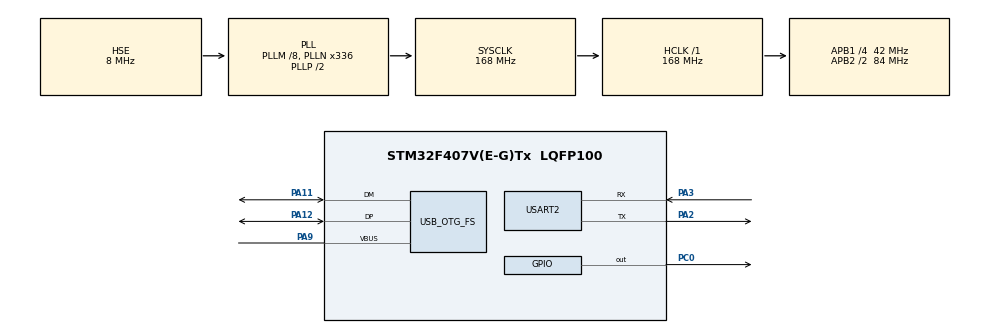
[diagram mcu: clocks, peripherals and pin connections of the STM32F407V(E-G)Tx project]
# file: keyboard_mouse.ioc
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Mcu.Family=STM32F4
Mcu.Name=STM32F407V(E-G)Tx
Mcu.Package=LQFP100
NVIC.OTG_FS_IRQn=true\:0\:0\:false\:false\:true\:true\:true\:true
NVIC.PriorityGroup=NVIC_PRIORITYGROUP_4
NVIC.TIM2_IRQn=true\:15\:0\:false\:false\:true\:false\:true\:true
NVIC.TimeBase=TIM2_IRQn
NVIC.TimeBaseIP=TIM2
PA11.Mode=Host_Only
PA11.Signal=USB_OTG_FS_DM
PA12.Mode=Host_Only
PA12.Signal=USB_OTG_FS_DP
PA2.Mode=Asynchronous
PA2.Signal=USART2_TX
PA3.Mode=Asynchronous
PA3.Signal=USART2_RX
PA9.Mode=Activate_VBUS
PA9.Signal=USB_OTG_FS_VBUS
PC0.GPIO_PuPd=GPIO_NOPULL
PC0.PinState=GPIO_PIN_RESET
PC0.Signal=GPIO_Output
PH0-OSC_IN.Mode=HSE-External-Oscillator
PH0-OSC_IN.Signal=RCC_OSC_IN
PH1-OSC_OUT.Mode=HSE-External-Oscillator
PH1-OSC_OUT.Signal=RCC_OSC_OUT
ProjectManager.HeapSize=0x200
ProjectManager.StackSize=0x400
ProjectManager.TargetToolchain=STM32CubeIDE
RCC.48MHZClocksFreq_Value=48000000
RCC.AHBFreq_Value=168000000
RCC.APB1CLKDivider=RCC_HCLK_DIV4
RCC.APB1Freq_Value=42000000
RCC.APB1TimFreq_Value=84000000
RCC.APB2CLKDivider=RCC_HCLK_DIV2
RCC.APB2Freq_Value=84000000
RCC.APB2TimFreq_Value=168000000
RCC.CortexFreq_Value=168000000
RCC.HCLKFreq_Value=168000000
RCC.HSE_VALUE=8000000
RCC.HSI_VALUE=16000000
RCC.LSE_VALUE=32768
RCC.PLLM=8
RCC.PLLN=336
RCC.PLLQ=7
RCC.SYSCLKFreq_VALUE=168000000
RCC.SYSCLKSource=RCC_SYSCLKSOURCE_PLLCLK
RCC.VCOOutputFreq_Value=336000000
USART2.VirtualMode=VM_ASYNC
USB_HOST.BSP.number=1
USB_HOST.SW_VBUS_DRIVE_HID_FS=false
USB_HOST.USBH_DEBUG_LEVEL-HID_FS=3
USB_HOST.USBH_HandleTypeDef-HID_FS=hUsbHostFS
USB_HOST.USBH_USE_OS-HID_FS=0
USB_HOST.VirtualModeFS=Hid
USB_HOST0.BSP.STBoard=false
USB_HOST0.BSP.api=Unknown
USB_HOST0.BSP.condition=SW_VBUS_DRIVE_HID_FS \= false
USB_HOST0.BSP.instance=PC0
USB_HOST0.BSP.ip=GPIO
USB_HOST0.BSP.mode=Output
USB_HOST0.BSP.name=Drive_VBUS_FS
USB_HOST0.BSP.solution=PC0
USB_OTG_FS.VirtualMode=Host_Only
USB_OTG_FS.phy_itface=HCD_PHY_EMBEDDED
VP_SYS_VS_tim2.Mode=TIM2
VP_USB_HOST_VS_USB_HOST_HID_FS.Mode=HID_FS
board=STM32F407G-DISC1

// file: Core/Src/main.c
/* USER CODE BEGIN Header */
/**
  ******************************************************************************
  * @file           : main.c
  * @brief          : Main program body
  ******************************************************************************
  * @attention
  *
  * Copyright (c) 2026 STMicroelectronics.
  * All rights reserved.
  *
  * This software is licensed under terms that can be found in the LICENSE file
  * in the root directory of this software component.
  * If no LICENSE file comes with this software, it is provided AS-IS.
  *
  ******************************************************************************
  */
/* USER CODE END Header */
#include "main.h"
#include "usb_host.h"

/* USER CODE BEGIN Includes */
#include "usbh_hid.h"
#include <stdio.h>
/* USER CODE END Includes */

UART_HandleTypeDef huart2;

void SystemClock_Config(void);
static void MX_GPIO_Init(void);
static void MX_USART2_UART_Init(void);
void MX_USB_HOST_Process(void);

/* USER CODE BEGIN 0 */

char Uart_Buf[100];

void USBH_HID_EventCallback(USBH_HandleTypeDef *phost){
	if(USBH_HID_GetDeviceType(phost) == HID_MOUSE){
		HID_MOUSE_Info_TypeDef *Mouse_Info;
		Mouse_Info = USBH_HID_GetMouseInfo(phost);
		int x_val = Mouse_Info->x;
		int y_val = Mouse_Info->y;
		if(x_val > 127) x_val -= 255;
		if(y_val > 127) y_val -= 255;

		int len = sprintf(Uart_Buf, "X=%d, Y=%d, Button1=%d, Button2=%d, Button3=%d\n", x_val, y_val, \
				Mouse_Info->buttons[0],Mouse_Info->buttons[1],Mouse_Info->buttons[2]);
		HAL_UART_Transmit(&huart2, (uint8_t*)Uart_Buf, len, 1000);
	}
	if(USBH_HID_GetDeviceType(phost) == HID_KEYBOARD){
		HID_KEYBD_Info_TypeDef *Keyboard_Info;
		Keyboard_Info = USBH_HID_GetKeybdInfo(phost);
		char key = USBH_HID_GetASCIICode(Keyboard_Info);
		int len = sprintf(Uart_Buf, "Key pressed = %c\n", key);
		HAL_UART_Transmit(&huart2, (uint8_t*) Uart_Buf, len, 1000);
	}

}
/* USER CODE END 0 */

int main(void)
{

  /* MCU Configuration--------------------------------------------------------*/

  /* Reset of all peripherals, Initializes the Flash interface and the Systick. */
  HAL_Init();

  /* Configure the system clock */
  SystemClock_Config();

  /* Initialize all configured peripherals */
  MX_GPIO_Init();
  MX_USB_HOST_Init();
  MX_USART2_UART_Init();

  /* Infinite loop */
  while (1)
  {
    MX_USB_HOST_Process();

  }
}

void SystemClock_Config(void)
{
  RCC_OscInitTypeDef RCC_OscInitStruct = {0};
  RCC_ClkInitTypeDef RCC_ClkInitStruct = {0};

  /** Configure the main internal regulator output voltage
  */
  __HAL_RCC_PWR_CLK_ENABLE();
  __HAL_PWR_VOLTAGESCALING_CONFIG(PWR_REGULATOR_VOLTAGE_SCALE1);

  /** Initializes the RCC Oscillators according to the specified parameters
  * in the RCC_OscInitTypeDef structure.
  */
  RCC_OscInitStruct.OscillatorType = RCC_OSCILLATORTYPE_HSE;
  RCC_OscInitStruct.HSEState = RCC_HSE_ON;
  RCC_OscInitStruct.PLL.PLLState = RCC_PLL_ON;
  RCC_OscInitStruct.PLL.PLLSource = RCC_PLLSOURCE_HSE;
  RCC_OscInitStruct.PLL.PLLM = 8;
  RCC_OscInitStruct.PLL.PLLN = 336;
  RCC_OscInitStruct.PLL.PLLP = RCC_PLLP_DIV2;
  RCC_OscInitStruct.PLL.PLLQ = 7;
  if (HAL_RCC_OscConfig(&RCC_OscInitStruct) != HAL_OK)
  {
    Error_Handler();
  }

  /** Initializes the CPU, AHB and APB buses clocks
  */
  RCC_ClkInitStruct.ClockType = RCC_CLOCKTYPE_HCLK|RCC_CLOCKTYPE_SYSCLK
                              |RCC_CLOCKTYPE_PCLK1|RCC_CLOCKTYPE_PCLK2;
  RCC_ClkInitStruct.SYSCLKSource = RCC_SYSCLKSOURCE_PLLCLK;
  RCC_ClkInitStruct.AHBCLKDivider = RCC_SYSCLK_DIV1;
  RCC_ClkInitStruct.APB1CLKDivider = RCC_HCLK_DIV4;
  RCC_ClkInitStruct.APB2CLKDivider = RCC_HCLK_DIV2;

  if (HAL_RCC_ClockConfig(&RCC_ClkInitStruct, FLASH_LATENCY_5) != HAL_OK)
  {
    Error_Handler();
  }
}

static void MX_USART2_UART_Init(void)
{

  huart2.Instance = USART2;
  huart2.Init.BaudRate = 115200;
  huart2.Init.WordLength = UART_WORDLENGTH_8B;
  huart2.Init.StopBits = UART_STOPBITS_1;
  huart2.Init.Parity = UART_PARITY_NONE;
  huart2.Init.Mode = UART_MODE_TX_RX;
  huart2.Init.HwFlowCtl = UART_HWCONTROL_NONE;
  huart2.Init.OverSampling = UART_OVERSAMPLING_16;
  if (HAL_UART_Init(&huart2) != HAL_OK)
  {
    Error_Handler();
  }

}

static void MX_GPIO_Init(void)
{
  GPIO_InitTypeDef GPIO_InitStruct = {0};

  /* GPIO Ports Clock Enable */
  __HAL_RCC_GPIOH_CLK_ENABLE();
  __HAL_RCC_GPIOC_CLK_ENABLE();
  __HAL_RCC_GPIOA_CLK_ENABLE();

  /*Configure GPIO pin Output Level */
  HAL_GPIO_WritePin(GPIOC, GPIO_PIN_0, GPIO_PIN_RESET);

  /*Configure GPIO pin : PC0 */
  GPIO_InitStruct.Pin = GPIO_PIN_0;
  GPIO_InitStruct.Mode = GPIO_MODE_OUTPUT_PP;
  GPIO_InitStruct.Pull = GPIO_NOPULL;
  GPIO_InitStruct.Speed = GPIO_SPEED_FREQ_LOW;
  HAL_GPIO_Init(GPIOC, &GPIO_InitStruct);

}

void HAL_TIM_PeriodElapsedCallback(TIM_HandleTypeDef *htim)
{
  if (htim->Instance == TIM2)
  {
    HAL_IncTick();
  }
}

void Error_Handler(void)
{
  __disable_irq();
  while (1)
  {
  }
}
